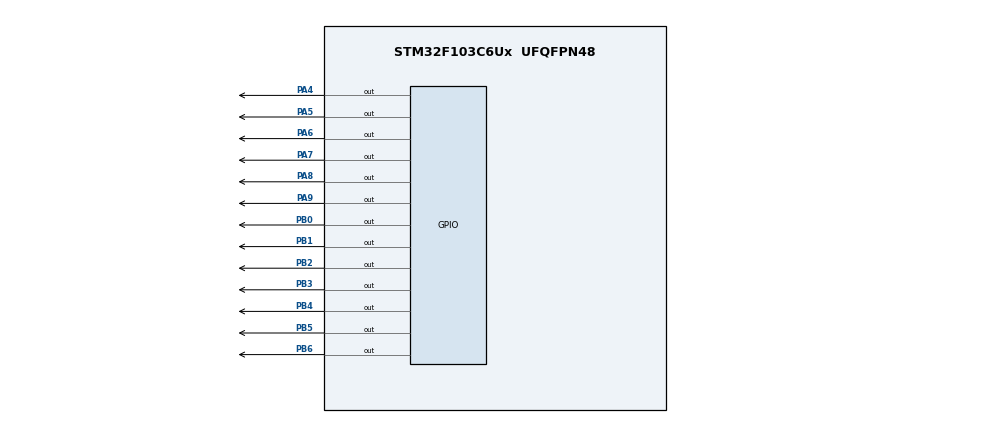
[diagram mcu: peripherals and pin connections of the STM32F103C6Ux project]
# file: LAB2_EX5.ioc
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Mcu.Family=STM32F1
Mcu.Name=STM32F103C6Ux
Mcu.Package=UFQFPN48
NVIC.PriorityGroup=NVIC_PRIORITYGROUP_4
NVIC.TIM2_IRQn=true\:0\:0\:false\:false\:true\:true\:true
PA4.Signal=GPIO_Output
PA5.Signal=GPIO_Output
PA6.Signal=GPIO_Output
PA7.Signal=GPIO_Output
PA8.Signal=GPIO_Output
PA9.Signal=GPIO_Output
PB0.Signal=GPIO_Output
PB1.Signal=GPIO_Output
PB2.Signal=GPIO_Output
PB3.Signal=GPIO_Output
PB4.Signal=GPIO_Output
PB5.Signal=GPIO_Output
PB6.Signal=GPIO_Output
ProjectManager.HeapSize=0x200
ProjectManager.StackSize=0x400
ProjectManager.TargetToolchain=STM32CubeIDE
RCC.APB1Freq_Value=8000000
RCC.APB2Freq_Value=8000000
TIM2.Period=9
TIM2.Prescaler=7999
VP_SYS_VS_ND.Mode=No_Debug
VP_TIM2_VS_ClockSourceINT.Mode=Internal
board=custom

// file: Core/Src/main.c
/* USER CODE BEGIN Header */
/**
  ******************************************************************************
  * @file           : main.c
  * @brief          : Main program body
  ******************************************************************************
  * @attention
  *
  * <h2><center>&copy; Copyright (c) 2025 STMicroelectronics.
  * All rights reserved.</center></h2>
  *
  * This software component is licensed by ST under BSD 3-Clause license,
  * the "License"; You may not use this file except in compliance with the
  * License. You may obtain a copy of the License at:
  *                        opensource.org/licenses/BSD-3-Clause
  *
  ******************************************************************************
  */
/* USER CODE END Header */
#include "main.h"

TIM_HandleTypeDef htim2;

void SystemClock_Config(void);
static void MX_GPIO_Init(void);
static void MX_TIM2_Init(void);

/* USER CODE BEGIN 0 */
volatile int tick10ms = 0;
volatile int secTick  = 0;
volatile int index_led = 0;

const int MAX_LED = 4;
int led_buffer[4] = {0,0,0,0};

int hour = 15, minute = 8, second = 50;

void display7SEG(int num){
    HAL_GPIO_WritePin(GPIOB, 0x7F, GPIO_PIN_SET);

    switch(num){
        case 0: HAL_GPIO_WritePin(GPIOB, GPIO_PIN_0|GPIO_PIN_1|GPIO_PIN_2|GPIO_PIN_3|GPIO_PIN_4|GPIO_PIN_5, GPIO_PIN_RESET); break;
        case 1: HAL_GPIO_WritePin(GPIOB, GPIO_PIN_1|GPIO_PIN_2, GPIO_PIN_RESET); break;
        case 2: HAL_GPIO_WritePin(GPIOB, GPIO_PIN_0|GPIO_PIN_1|GPIO_PIN_3|GPIO_PIN_4|GPIO_PIN_6, GPIO_PIN_RESET); break;
        case 3: HAL_GPIO_WritePin(GPIOB, GPIO_PIN_0|GPIO_PIN_1|GPIO_PIN_2|GPIO_PIN_3|GPIO_PIN_6, GPIO_PIN_RESET); break;
        case 4: HAL_GPIO_WritePin(GPIOB, GPIO_PIN_1|GPIO_PIN_2|GPIO_PIN_5|GPIO_PIN_6, GPIO_PIN_RESET); break;
        case 5: HAL_GPIO_WritePin(GPIOB, GPIO_PIN_0|GPIO_PIN_2|GPIO_PIN_3|GPIO_PIN_5|GPIO_PIN_6, GPIO_PIN_RESET); break;
        case 6: HAL_GPIO_WritePin(GPIOB, GPIO_PIN_0|GPIO_PIN_2|GPIO_PIN_3|GPIO_PIN_4|GPIO_PIN_5|GPIO_PIN_6, GPIO_PIN_RESET); break;
        case 7: HAL_GPIO_WritePin(GPIOB, GPIO_PIN_0|GPIO_PIN_1|GPIO_PIN_2, GPIO_PIN_RESET); break;
        case 8: HAL_GPIO_WritePin(GPIOB, 0x7F, GPIO_PIN_RESET); break;
        case 9: HAL_GPIO_WritePin(GPIOB, GPIO_PIN_0|GPIO_PIN_1|GPIO_PIN_2|GPIO_PIN_3|GPIO_PIN_5|GPIO_PIN_6, GPIO_PIN_RESET); break;
    }
}

void disableAllDigits(void){
    HAL_GPIO_WritePin(GPIOA, GPIO_PIN_6|GPIO_PIN_7|GPIO_PIN_8|GPIO_PIN_9, GPIO_PIN_SET);
}
void enableDigit(int idx){
    switch(idx){
        case 0: HAL_GPIO_WritePin(GPIOA, GPIO_PIN_6, GPIO_PIN_RESET); break;
        case 1: HAL_GPIO_WritePin(GPIOA, GPIO_PIN_7, GPIO_PIN_RESET); break;
        case 2: HAL_GPIO_WritePin(GPIOA, GPIO_PIN_8, GPIO_PIN_RESET); break;
        case 3: HAL_GPIO_WritePin(GPIOA, GPIO_PIN_9, GPIO_PIN_RESET); break;
    }
}

void update7SEG(int index){
    disableAllDigits();
    display7SEG(led_buffer[index]);
    enableDigit(index);
}

void updateClockBuffer(){
    led_buffer[0] = hour / 10;
    led_buffer[1] = hour % 10;
    led_buffer[2] = minute / 10;
    led_buffer[3] = minute % 10;
}
/* USER CODE END 0 */

int main(void)
{

  /* MCU Configuration--------------------------------------------------------*/

  /* Reset of all peripherals, Initializes the Flash interface and the Systick. */
  HAL_Init();

  /* Configure the system clock */
  SystemClock_Config();

  /* Initialize all configured peripherals */
  MX_GPIO_Init();
  MX_TIM2_Init();
  /* USER CODE BEGIN 2 */
  HAL_TIM_Base_Start_IT(&htim2);
  /* USER CODE END 2 */

  /* Infinite loop */
  /* USER CODE BEGIN WHILE */
  while (1)
  {
	    second++;
	    if(second >= 60){
	        second = 0;
	        minute++;
	    }
	    if(minute >= 60){
	        minute = 0;
	        hour++;
	    }
	    if(hour >= 24){
	        hour = 0;
	    }

	    updateClockBuffer();
	    HAL_Delay(1000);
    /* USER CODE END WHILE */

  }
}

void SystemClock_Config(void)
{
  RCC_OscInitTypeDef RCC_OscInitStruct = {0};
  RCC_ClkInitTypeDef RCC_ClkInitStruct = {0};

  /** Initializes the RCC Oscillators according to the specified parameters
  * in the RCC_OscInitTypeDef structure.
  */
  RCC_OscInitStruct.OscillatorType = RCC_OSCILLATORTYPE_HSI;
  RCC_OscInitStruct.HSIState = RCC_HSI_ON;
  RCC_OscInitStruct.HSICalibrationValue = RCC_HSICALIBRATION_DEFAULT;
  RCC_OscInitStruct.PLL.PLLState = RCC_PLL_NONE;
  if (HAL_RCC_OscConfig(&RCC_OscInitStruct) != HAL_OK)
  {
    Error_Handler();
  }
  /** Initializes the CPU, AHB and APB buses clocks
  */
  RCC_ClkInitStruct.ClockType = RCC_CLOCKTYPE_HCLK|RCC_CLOCKTYPE_SYSCLK
                              |RCC_CLOCKTYPE_PCLK1|RCC_CLOCKTYPE_PCLK2;
  RCC_ClkInitStruct.SYSCLKSource = RCC_SYSCLKSOURCE_HSI;
  RCC_ClkInitStruct.AHBCLKDivider = RCC_SYSCLK_DIV1;
  RCC_ClkInitStruct.APB1CLKDivider = RCC_HCLK_DIV1;
  RCC_ClkInitStruct.APB2CLKDivider = RCC_HCLK_DIV1;

  if (HAL_RCC_ClockConfig(&RCC_ClkInitStruct, FLASH_LATENCY_0) != HAL_OK)
  {
    Error_Handler();
  }
}

static void MX_TIM2_Init(void)
{

  TIM_ClockConfigTypeDef sClockSourceConfig = {0};
  TIM_MasterConfigTypeDef sMasterConfig = {0};

  htim2.Instance = TIM2;
  htim2.Init.Prescaler = 7999;
  htim2.Init.CounterMode = TIM_COUNTERMODE_UP;
  htim2.Init.Period = 9;
  htim2.Init.ClockDivision = TIM_CLOCKDIVISION_DIV1;
  htim2.Init.AutoReloadPreload = TIM_AUTORELOAD_PRELOAD_DISABLE;
  if (HAL_TIM_Base_Init(&htim2) != HAL_OK)
  {
    Error_Handler();
  }
  sClockSourceConfig.ClockSource = TIM_CLOCKSOURCE_INTERNAL;
  if (HAL_TIM_ConfigClockSource(&htim2, &sClockSourceConfig) != HAL_OK)
  {
    Error_Handler();
  }
  sMasterConfig.MasterOutputTrigger = TIM_TRGO_RESET;
  sMasterConfig.MasterSlaveMode = TIM_MASTERSLAVEMODE_DISABLE;
  if (HAL_TIMEx_MasterConfigSynchronization(&htim2, &sMasterConfig) != HAL_OK)
  {
    Error_Handler();
  }

}

static void MX_GPIO_Init(void)
{
  GPIO_InitTypeDef GPIO_InitStruct = {0};

  /* GPIO Ports Clock Enable */
  __HAL_RCC_GPIOA_CLK_ENABLE();
  __HAL_RCC_GPIOB_CLK_ENABLE();

  /*Configure GPIO pin Output Level */
  HAL_GPIO_WritePin(GPIOA, GPIO_PIN_4|GPIO_PIN_5|GPIO_PIN_6|GPIO_PIN_7
                          |GPIO_PIN_8|GPIO_PIN_9, GPIO_PIN_RESET);

  /*Configure GPIO pin Output Level */
  HAL_GPIO_WritePin(GPIOB, GPIO_PIN_0|GPIO_PIN_1|GPIO_PIN_2|GPIO_PIN_3
                          |GPIO_PIN_4|GPIO_PIN_5|GPIO_PIN_6, GPIO_PIN_RESET);

  /*Configure GPIO pins : PA4 PA5 PA6 PA7
                           PA8 PA9 */
  GPIO_InitStruct.Pin = GPIO_PIN_4|GPIO_PIN_5|GPIO_PIN_6|GPIO_PIN_7
                          |GPIO_PIN_8|GPIO_PIN_9;
  GPIO_InitStruct.Mode = GPIO_MODE_OUTPUT_PP;
  GPIO_InitStruct.Pull = GPIO_NOPULL;
  GPIO_InitStruct.Speed = GPIO_SPEED_FREQ_LOW;
  HAL_GPIO_Init(GPIOA, &GPIO_InitStruct);

  /*Configure GPIO pins : PB0 PB1 PB2 PB3
                           PB4 PB5 PB6 */
  GPIO_InitStruct.Pin = GPIO_PIN_0|GPIO_PIN_1|GPIO_PIN_2|GPIO_PIN_3
                          |GPIO_PIN_4|GPIO_PIN_5|GPIO_PIN_6;
  GPIO_InitStruct.Mode = GPIO_MODE_OUTPUT_PP;
  GPIO_InitStruct.Pull = GPIO_NOPULL;
  GPIO_InitStruct.Speed = GPIO_SPEED_FREQ_LOW;
  HAL_GPIO_Init(GPIOB, &GPIO_InitStruct);

}

/* USER CODE BEGIN 4 */
void HAL_TIM_PeriodElapsedCallback(TIM_HandleTypeDef *htim){
    if(htim->Instance == TIM2){
        tick10ms++;
        secTick++;

        if(tick10ms >= 25){
            tick10ms = 0;
            update7SEG(index_led);
            index_led++;
            if(index_led >= MAX_LED) index_led = 0;
        }

        if(secTick >= 100){ // 1s
            secTick = 0;
            HAL_GPIO_TogglePin(GPIOA, GPIO_PIN_4);
            HAL_GPIO_TogglePin(GPIOA, GPIO_PIN_5);
        }
    }
}
/* USER CODE END 4 */

void Error_Handler(void)
{
  __disable_irq();
  while (1)
  {
  }
}

/************************ (C) COPYRIGHT STMicroelectronics *****END OF FILE****/
